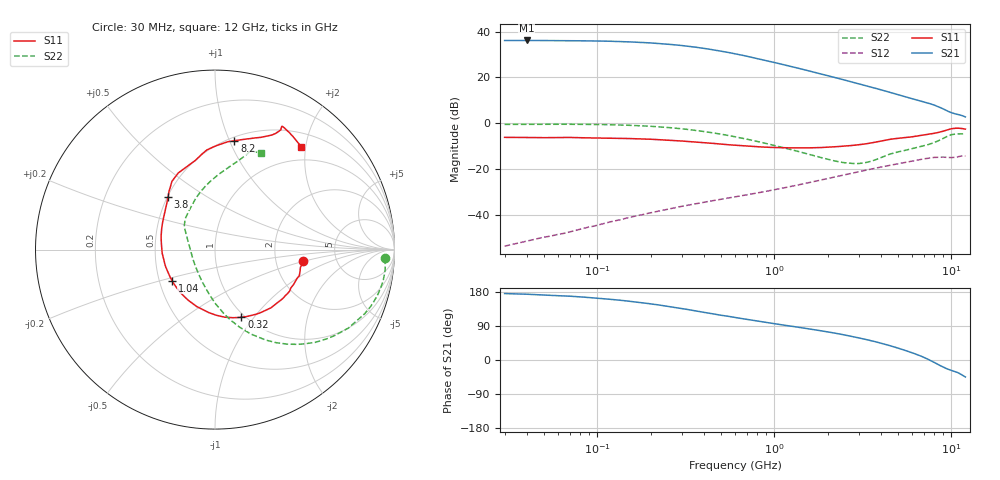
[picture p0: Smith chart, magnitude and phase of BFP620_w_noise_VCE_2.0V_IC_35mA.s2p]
! Infineon Technologies  Discrete & RF Semiconductors
! BFP620
! VCE =  2.0 V,  IC =  35 mA
! Common Emitter S-Parameters:  Nov 2015
# GHz  S  MA  R  50
!  f  S11  S21  S12  S22
! GHz  MAG  ANG  MAG  ANG  MAG  ANG  MAG  ANG
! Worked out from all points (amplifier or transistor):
!   239 points, 30 MHz to 12 GHz, reference 50 ohm
!   highest |S21| = 36.1 dB at 40 MHz (marker M1)
!   |S21| within 3 dB of that: start of sweep to 364.7 MHz
!   unconditionally stable (mu >= 1): 2.338 GHz to end of sweep
!   at 300 MHz: K = 0.40, MSG = 35.0 dB, |S12| = -36.2 dB
!   at 1.88 GHz: K = 0.97, MSG = 22.9 dB, |S12| = -24.5 dB
!   at 12 GHz: K = 1.09, MAG = 6.7 dB, |S12| = -14.3 dB
!   lowest NFmin = 1.24 dB at 450 MHz
!   S11 on the Smith chart (normalised r, x): 30 MHz: 2.86, -0.48; 320 MHz: 0.96, -0.87; 1.04 GHz: 0.58, -0.22; 3.8 GHz: 0.50, +0.35; 8.2 GHz: 0.53, +1.04; 12 GHz: 0.73, +1.91
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0.03  0.494 -7.4  63.71 175.3  0.0021 84.5  0.9463 -3.0
0.04  0.492 -9.9  63.9 173.6  0.0027 82.8  0.9511 -4.8
0.05  0.4861 -11.6  63.65 171.1  0.0033 84.2  0.9545 -6.5
0.07  0.4917 -17.2  63.41 168.4  0.0043 80.7  0.9529 -10.1
0.085  0.4827 -20.6  62.72 165.7  0.0052 79.4  0.9479 -12.7
0.12  0.4758 -28.9  61.34 160.0  0.0072 77.5  0.9293 -18.6
0.15  0.4658 -35.8  59.65 155.3  0.0088 76.1  0.9073 -23.2
0.195  0.4508 -45.0  56.76 148.9  0.011 73.2  0.8659 -29.7
0.24  0.4338 -54.0  53.66 142.9  0.013 71.1  0.8215 -35.6
0.32  0.404 -68.7  48.17 133.7  0.0162 67.8  0.7399 -44.8
0.4  0.3806 -81.7  43.02 125.8  0.019 65.7  0.6631 -52.6
0.5  0.3526 -95.6  37.34 118.1  0.0221 63.8  0.5791 -60.6
0.6  0.3335 -107.6  32.75 112.0  0.0249 62.6  0.5093 -67.2
0.8  0.3092 -126.8  25.84 102.6  0.0303 61.4  0.4025 -77.5
1.04  0.2954 -144.1  20.47 94.8  0.0367 60.4  0.3175 -87.2
1.2  0.2909 -153.6  17.88 90.3  0.041 59.7  0.2758 -93.0
1.64  0.2932 -173.7  13.29 80.8  0.0529 57.2  0.2021 -108.7
2.4  0.3156 161.2  9.109 67.5  0.0729 51.1  0.1413 -142.0
3.8  0.3948 131.5  5.686 47.2  0.1068 37.3  0.165 158.8
4.5  0.4499 122.2  4.722 37.6  0.1215 30.4  0.2137 143.4
8.2  0.6161 79.9  2.402 -9.0  0.1812 -8.3  0.3965 91.0
12  0.7483 50.1  1.377 -44.8  0.1934 -39.0  0.5958 64.7
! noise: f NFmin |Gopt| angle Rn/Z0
0.45  1.24  0.19  -162  0.1
0.9  1.25  0.22  -150  0.1
1.9  1.26  0.26  -138  0.11
2.4  1.28  0.26  -136  0.11
3.5  1.32  0.33  -101  0.18
5.5  1.6  0.36  -84  0.23
10  1.92  0.63  -45  0.98
